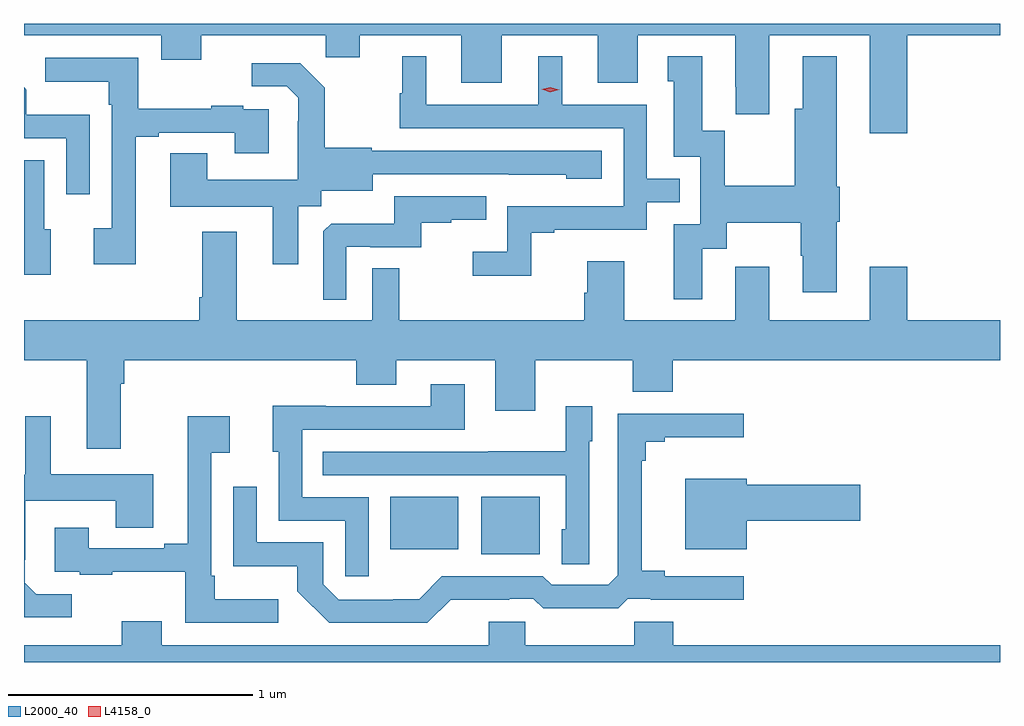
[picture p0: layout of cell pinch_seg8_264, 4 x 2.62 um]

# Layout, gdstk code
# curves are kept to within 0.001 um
import gdstk
lib = gdstk.Library(unit=1e-6, precision=1e-09)
def R(c, l, rs):  # rectangles x0, y0, x1, y1
    for r in rs: c.add(gdstk.rectangle(r[:2], r[2:], *l))
def P(c, l, *ps):  # polygons
    for p in ps: c.add(gdstk.Polygon(p, *l))
L2000_40 = (2000, 40)
L4158_0 = (4158, 0)

pinch_seg8_264 = lib.new_cell('pinch_seg8_264')
R(pinch_seg8_264, L2000_40, [(578.432,1162.325,578.671,1162.561), (578.06,1162.346,578.338,1162.561)])
P(pinch_seg8_264, L2000_40, [(580.178,1164.452),(580.558,1164.452),(580.558,1164.5),(576.558,1164.5),(576.558,1164.452),(577.121,1164.452),(577.121,1164.353),(577.285,1164.353),(577.285,1164.452),(577.795,1164.452),(577.795,1164.362),(577.933,1164.362),(577.933,1164.452),(578.351,1164.452),(578.351,1164.258),(578.515,1164.258),(578.515,1164.452),(578.909,1164.452),(578.909,1164.258),(579.073,1164.258),(579.073,1164.452),(579.473,1164.452),(579.473,1164.241),(579.475,1164.241),(579.475,1164.129),(579.613,1164.129),(579.613,1164.452),(580.025,1164.452),(580.025,1164.051),(580.178,1164.051)],
  [(578.637,1163.643),(578.731,1163.643),(578.731,1163.655),(579.111,1163.655),(579.111,1163.769),(579.245,1163.769),(579.245,1163.865),(579.111,1163.865),(579.111,1164.168),(578.764,1164.168),(578.764,1164.367),(578.666,1164.367),(578.666,1164.168),(578.206,1164.168),(578.206,1164.367),(578.108,1164.367),(578.108,1164.216),(578.097,1164.216),(578.097,1164.072),(579.015,1164.072),(579.015,1163.751),(578.538,1163.751),(578.538,1163.566),(578.397,1163.566),(578.397,1163.468),(578.637,1163.468)],
  [(579.337,1163.578),(579.439,1163.578),(579.439,1163.684),(579.742,1163.684),(579.742,1163.55),(579.749,1163.55),(579.749,1163.4),(579.889,1163.4),(579.889,1163.688),(579.902,1163.688),(579.902,1163.832),(579.889,1163.832),(579.889,1164.367),(579.749,1164.367),(579.749,1164.151),(579.716,1164.151),(579.716,1163.836),(579.43,1163.836),(579.43,1164.061),(579.337,1164.061),(579.337,1164.367),(579.197,1164.367),(579.197,1164.264),(579.221,1164.264),(579.221,1163.955),(579.33,1163.955),(579.33,1163.679),(579.221,1163.679),(579.221,1163.37),(579.337,1163.37)],
  [(577.015,1164.036),(577.111,1164.036),(577.111,1164.054),(577.421,1164.054),(577.421,1163.97),(577.561,1163.97),(577.561,1164.15),(577.457,1164.15),(577.457,1164.163),(577.325,1164.163),(577.325,1164.152),(577.027,1164.152),(577.027,1164.36),(576.645,1164.36),(576.645,1164.263),(576.906,1164.263),(576.906,1164.167),(576.918,1164.167),(576.918,1163.662),(576.843,1163.662),(576.843,1163.514),(577.015,1163.514)],
  [(577.681,1163.752),(577.776,1163.752),(577.776,1163.816),(577.987,1163.816),(577.987,1163.883),(578.781,1163.882),(578.781,1163.864),(578.926,1163.864),(578.926,1163.979),(577.983,1163.979),(577.983,1163.992),(577.791,1163.992),(577.791,1164.237),(577.691,1164.337),(577.491,1164.337),(577.491,1164.243),(577.635,1164.243),(577.682,1164.196),(577.682,1164.101),(577.68,1164.101),(577.68,1163.86),(577.309,1163.86),(577.309,1163.969),(577.157,1163.969),(577.157,1163.75),(577.577,1163.75),(577.577,1163.514),(577.681,1163.514)],
  [(576.828,1164.127),(576.567,1164.127),(576.567,1164.23),(576.558,1164.239),(576.558,1164.03),(576.732,1164.03),(576.732,1163.802),(576.828,1163.802)],
  [(576.667,1163.658),(576.642,1163.658),(576.642,1163.94),(576.558,1163.94),(576.558,1163.471),(576.667,1163.471)],
  [(577.878,1163.586),(577.978,1163.586),(577.978,1163.583),(578.186,1163.583),(578.186,1163.685),(578.309,1163.685),(578.309,1163.696),(578.453,1163.696),(578.453,1163.793),(578.076,1163.793),(578.076,1163.681),(577.817,1163.681),(577.785,1163.649),(577.785,1163.369),(577.878,1163.369)],
  [(578.489,1162.914),(578.653,1162.914),(578.653,1163.12),(579.053,1163.12),(579.053,1162.992),(579.217,1162.992),(579.217,1163.12),(580.558,1163.12),(580.558,1163.284),(580.178,1163.284),(580.178,1163.503),(580.025,1163.503),(580.025,1163.284),(579.613,1163.284),(579.613,1163.503),(579.473,1163.503),(579.473,1163.284),(579.019,1163.284),(579.019,1163.527),(578.867,1163.527),(578.867,1163.397),(578.855,1163.397),(578.855,1163.284),(578.095,1163.284),(578.095,1163.498),(577.986,1163.498),(577.986,1163.284),(577.429,1163.284),(577.429,1163.647),(577.289,1163.647),(577.289,1163.38),(577.277,1163.38),(577.277,1163.284),(576.558,1163.284),(576.558,1163.12),(576.815,1163.12),(576.815,1162.758),(576.955,1162.758),(576.955,1163.024),(576.968,1163.024),(576.968,1163.12),(577.919,1163.12),(577.919,1163.021),(578.083,1163.021),(578.083,1163.12),(578.489,1163.12)],
  [(577.971,1162.56),(577.698,1162.56),(577.698,1162.836),(578.365,1162.836),(578.365,1163.023),(578.225,1163.023),(578.225,1162.932),(577.795,1162.932),(577.795,1162.934),(577.577,1162.934),(577.577,1162.746),(577.602,1162.746),(577.602,1162.464),(577.875,1162.464),(577.875,1162.236),(577.971,1162.236)],
  [(578.874,1162.788),(578.887,1162.788),(578.887,1162.933),(578.778,1162.933),(578.778,1162.747),(578.461,1162.747),(578.461,1162.746),(577.783,1162.746),(577.783,1162.65),(578.778,1162.65),(578.778,1162.428),(578.762,1162.428),(578.762,1162.285),(578.874,1162.285)],
  [(578.306,1162.139),(578.546,1162.139),(578.546,1162.143),(578.646,1162.143),(578.686,1162.104),(578.993,1162.104),(579.033,1162.143),(579.127,1162.143),(579.127,1162.139),(579.508,1162.139),(579.508,1162.236),(579.184,1162.236),(579.184,1162.259),(579.089,1162.259),(579.089,1162.709),(579.107,1162.709),(579.107,1162.786),(579.184,1162.786),(579.184,1162.805),(579.508,1162.805),(579.508,1162.902),(578.991,1162.902),(578.991,1162.239),(578.952,1162.2),(578.721,1162.2),(578.685,1162.236),(578.271,1162.236),(578.177,1162.142),(578.072,1162.142),(578.072,1162.14),(577.848,1162.14),(577.785,1162.203),(577.785,1162.374),(577.512,1162.374),(577.512,1162.603),(577.416,1162.603),(577.416,1162.277),(577.678,1162.277),(577.678,1162.175),(577.808,1162.044),(578.211,1162.044)],
  [(576.754,1162.161),(576.609,1162.161),(576.562,1162.208),(576.562,1162.303),(576.564,1162.303),(576.564,1162.544),(576.935,1162.544),(576.935,1162.435),(577.087,1162.435),(577.087,1162.654),(576.667,1162.654),(576.667,1162.891),(576.563,1162.891),(576.563,1162.652),(576.558,1162.652),(576.558,1162.067),(576.754,1162.067)],
  [(577.6,1162.141),(577.339,1162.141),(577.339,1162.237),(577.326,1162.237),(577.326,1162.742),(577.402,1162.742),(577.402,1162.891),(577.229,1162.891),(577.229,1162.369),(577.133,1162.369),(577.133,1162.35),(576.823,1162.35),(576.823,1162.435),(576.683,1162.435),(576.683,1162.254),(576.787,1162.254),(576.787,1162.242),(576.919,1162.242),(576.919,1162.253),(577.218,1162.253),(577.218,1162.044),(577.6,1162.044)],
  [(579.52,1162.463),(579.985,1162.463),(579.985,1162.61),(579.52,1162.61),(579.52,1162.636),(579.269,1162.636),(579.269,1162.346),(579.52,1162.346)],
  [(580.558,1161.952),(579.218,1161.952),(579.218,1162.05),(579.058,1162.05),(579.058,1161.952),(578.613,1161.952),(578.613,1162.05),(578.462,1162.05),(578.462,1161.952),(577.123,1161.952),(577.123,1162.051),(576.959,1162.051),(576.959,1161.952),(576.558,1161.952),(576.558,1161.883),(580.558,1161.883)])
P(pinch_seg8_264, L4158_0, [(578.715,1164.22),(578.68,1164.231),(578.679,1164.231),(578.68,1164.231),(578.715,1164.24),(578.75,1164.229),(578.751,1164.229),(578.75,1164.229)])

lib.write_gds('pinch_seg8_264.gds')
